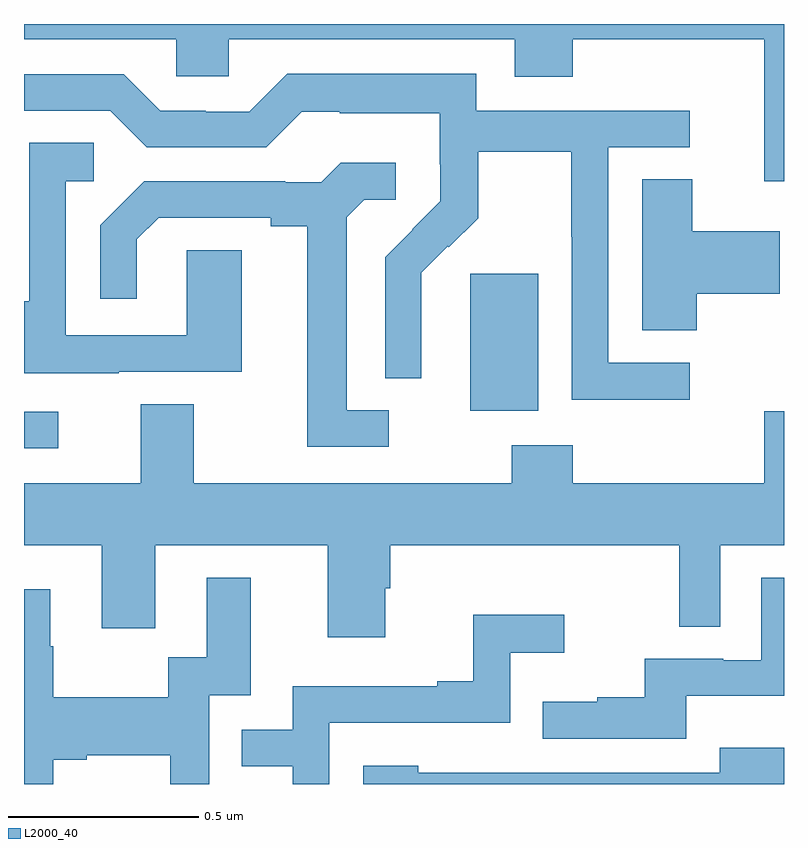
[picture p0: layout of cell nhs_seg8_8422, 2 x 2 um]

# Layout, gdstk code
import gdstk
lib = gdstk.Library(unit=1e-6, precision=1e-09)
def R(c, l, rs):  # rectangles x0, y0, x1, y1
    for r in rs: c.add(gdstk.rectangle(r[:2], r[2:], *l))
def P(c, l, *ps):  # polygons
    for p in ps: c.add(gdstk.Polygon(p, *l))
L2000_40 = (2000, 40)

nhs_seg8_8422 = lib.new_cell('nhs_seg8_8422')
R(nhs_seg8_8422, L2000_40, [(223,1088.784,223.09,1088.88), (224.174,1088.882,224.353,1089.243)])
P(nhs_seg8_8422, L2000_40, [(225,1089.9),(223,1089.9),(223,1089.86),(223.401,1089.86),(223.401,1089.762),(223.539,1089.762),(223.539,1089.86),(224.291,1089.86),(224.291,1089.761),(224.444,1089.761),(224.444,1089.86),(224.948,1089.86),(224.948,1089.486),(225,1089.486)],
  [(224.752,1089.009),(224.538,1089.009),(224.538,1089.576),(224.752,1089.576),(224.752,1089.672),(224.19,1089.672),(224.19,1089.769),(223.693,1089.769),(223.593,1089.669),(223.478,1089.669),(223.478,1089.672),(223.359,1089.672),(223.263,1089.768),(223,1089.768),(223,1089.672),(223.227,1089.672),(223.323,1089.576),(223.638,1089.576),(223.731,1089.669),(223.831,1089.669),(223.831,1089.665),(224.094,1089.665),(224.094,1089.531),(224.096,1089.531),(224.096,1089.434),(224.022,1089.36),(224.023,1089.359),(223.95,1089.286),(223.95,1088.968),(224.046,1088.968),(224.046,1089.122),(224.045,1089.122),(224.045,1089.245),(224.115,1089.315),(224.118,1089.312),(224.195,1089.389),(224.195,1089.564),(224.44,1089.564),(224.44,1089.34),(224.442,1089.34),(224.442,1088.911),(224.752,1088.911)],
  [(223.249,1088.985),(223.573,1088.985),(223.573,1089.305),(223.428,1089.305),(223.428,1089.081),(223.11,1089.081),(223.11,1089.486),(223.183,1089.486),(223.183,1089.587),(223.014,1089.587),(223.014,1089.171),(223,1089.171),(223,1088.981),(223.249,1088.981)],
  [(223.96,1088.883),(223.849,1088.883),(223.849,1089.391),(223.896,1089.438),(223.978,1089.438),(223.978,1089.535),(223.834,1089.535),(223.782,1089.483),(223.688,1089.483),(223.688,1089.486),(223.316,1089.486),(223.2,1089.37),(223.2,1089.177),(223.297,1089.177),(223.297,1089.333),(223.354,1089.39),(223.649,1089.39),(223.649,1089.368),(223.745,1089.368),(223.745,1088.787),(223.96,1088.787)],
  [(224.771,1089.19),(224.989,1089.19),(224.989,1089.355),(224.758,1089.355),(224.758,1089.491),(224.627,1089.491),(224.627,1089.094),(224.771,1089.094)],
  [(223.951,1088.415),(223.964,1088.415),(223.964,1088.528),(224.724,1088.528),(224.724,1088.314),(224.832,1088.314),(224.832,1088.528),(225,1088.528),(225,1088.881),(224.948,1088.881),(224.948,1088.692),(224.444,1088.692),(224.444,1088.791),(224.284,1088.791),(224.284,1088.692),(223.447,1088.692),(223.447,1088.9),(223.307,1088.9),(223.307,1088.692),(223,1088.692),(223,1088.528),(223.205,1088.528),(223.205,1088.31),(223.345,1088.31),(223.345,1088.528),(223.799,1088.528),(223.799,1088.286),(223.951,1088.286)],
  [(223.077,1087.964),(223.165,1087.964),(223.165,1087.976),(223.385,1087.976),(223.385,1087.9),(223.488,1087.9),(223.488,1088.133),(223.597,1088.133),(223.597,1088.443),(223.481,1088.443),(223.481,1088.234),(223.38,1088.234),(223.38,1088.128),(223.077,1088.128),(223.077,1088.262),(223.069,1088.262),(223.069,1088.413),(223,1088.413),(223,1087.9),(223.077,1087.9)],
  [(224.743,1088.132),(225,1088.132),(225,1088.443),(224.94,1088.443),(224.94,1088.226),(224.84,1088.226),(224.84,1088.229),(224.633,1088.229),(224.633,1088.128),(224.509,1088.128),(224.509,1088.116),(224.365,1088.116),(224.365,1088.019),(224.743,1088.019)],
  [(223.803,1088.061),(224.28,1088.061),(224.28,1088.246),(224.422,1088.246),(224.422,1088.345),(224.182,1088.345),(224.182,1088.17),(224.087,1088.17),(224.087,1088.157),(223.707,1088.157),(223.707,1088.043),(223.573,1088.043),(223.573,1087.947),(223.707,1087.947),(223.707,1087.9),(223.803,1087.9)],
  [(225,1087.996),(224.831,1087.996),(224.831,1087.929),(224.273,1087.929),(224.273,1087.93),(224.037,1087.93),(224.037,1087.948),(223.893,1087.948),(223.893,1087.9),(225,1087.9)])

lib.write_gds('nhs_seg8_8422.gds')
